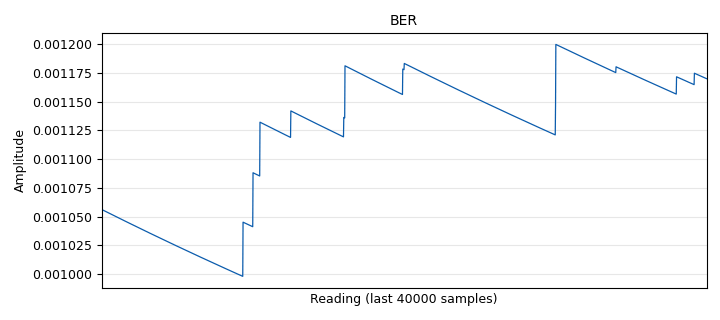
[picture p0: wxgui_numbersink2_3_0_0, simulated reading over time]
<?xml version='1.0' encoding='utf-8'?>
<?grc format='1' created='3.7.6'?>
<flow_graph>
<block>
<key>options</key>
<param><key>id</key><value>viterbi_equalization</value></param>
<param><key>title</key><value>Viterbi Equalization</value></param>
<param><key>author</key><value>AA</value></param>
<param><key>description</key><value>gnuradio flow graph</value></param>
<param><key>generate_options</key><value>wx_gui</value></param>
<param><key>category</key><value>Custom</value></param>
</block>
<block>
<key>variable</key>
<param><key>id</key><value>block</value></param>
<param><key>value</key><value>bpsym*1000</value></param>
</block>
<block>
<key>variable</key>
<param><key>id</key><value>R</value></param>
<param><key>value</key><value>100e3</value></param>
</block>
<block>
<key>variable</key>
<param><key>id</key><value>channel</value></param>
<param><key>value</key><value>fu.c_channel</value></param>
</block>
<block>
<key>variable</key>
<param><key>id</key><value>modulation</value></param>
<param><key>value</key><value>fu.pam4</value></param>
</block>
<block>
<key>variable</key>
<param><key>id</key><value>fsm</value></param>
<param><key>value</key><value>trellis.fsm(len(modulation[1]),len(channel))</value></param>
</block>
<block>
<key>variable</key>
<param><key>id</key><value>tot_channel</value></param>
<param><key>value</key><value>fu.make_isi_lookup(modulation,channel,True)</value></param>
</block>
<block>
<key>variable</key>
<param><key>id</key><value>bpsym</value></param>
<param><key>value</key><value>int(round(math.log(fsm.I())/math.log(2)))</value></param>
</block>
<block>
<key>variable</key>
<param><key>id</key><value>Es</value></param>
<param><key>value</key><value>1</value></param>
</block>
<block>
<key>variable</key>
<param><key>id</key><value>noisevar</value></param>
<param><key>value</key><value>10**(-EsN0_dB/10.0)  * Es   /2.0</value></param>
</block>
<block>
<key>import</key>
<param><key>id</key><value>import_0_0</value></param>
<param><key>import</key><value>import gnuradio.trellis.fsm_utils as fu</value></param>
</block>
<block>
<key>import</key>
<param><key>id</key><value>import_0</value></param>
<param><key>import</key><value>import numpy</value></param>
</block>
<block>
<key>import</key>
<param><key>id</key><value>import_0_1</value></param>
<param><key>import</key><value>import math</value></param>
</block>
<block>
<key>blocks_throttle</key>
<param><key>id</key><value>blocks_throttle_0</value></param>
<param><key>type</key><value>byte</value></param>
<param><key>samples_per_second</key><value>R</value></param>
</block>
<block>
<key>digital_chunks_to_symbols_xx</key>
<param><key>id</key><value>digital_chunks_to_symbols_xx_0</value></param>
<param><key>in_type</key><value>short</value></param>
<param><key>out_type</key><value>float</value></param>
<param><key>symbol_table</key><value>tot_channel[1]</value></param>
<param><key>dimension</key><value>tot_channel[0]</value></param>
</block>
<block>
<key>blocks_add_xx</key>
<param><key>id</key><value>blocks_add_xx_1</value></param>
<param><key>type</key><value>float</value></param>
</block>
<block>
<key>blocks_null_sink</key>
<param><key>id</key><value>blocks_null_sink_1</value></param>
<param><key>type</key><value>float</value></param>
<param><key>bus_conns</key><value>[[0,],]</value></param>
</block>
<block>
<key>analog_noise_source_x</key>
<param><key>id</key><value>analog_noise_source_x_0</value></param>
<param><key>type</key><value>float</value></param>
<param><key>noise_type</key><value>analog.GR_GAUSSIAN</value></param>
<param><key>amp</key><value>noisevar**0.5</value></param>
<param><key>seed</key><value>-42</value></param>
</block>
<block>
<key>trellis_encoder_xx</key>
<param><key>id</key><value>trellis_encoder_xx_0</value></param>
<param><key>type</key><value>bs</value></param>
<param><key>fsm_args</key><value>fsm</value></param>
<param><key>init_state</key><value>0</value></param>
</block>
<block>
<key>virtual_source</key>
<param><key>id</key><value>virtual_source_0</value></param>
<param><key>stream_id</key><value>observation</value></param>
</block>
<block>
<key>virtual_sink</key>
<param><key>id</key><value>virtual_sink_0</value></param>
<param><key>stream_id</key><value>observation</value></param>
</block>
<block>
<key>virtual_source</key>
<param><key>id</key><value>virtual_source_0_0_0</value></param>
<param><key>stream_id</key><value>estimate</value></param>
</block>
<block>
<key>virtual_source</key>
<param><key>id</key><value>virtual_source_0_0</value></param>
<param><key>stream_id</key><value>info</value></param>
</block>
<block>
<key>wxgui_numbersink2</key>
<param><key>id</key><value>wxgui_numbersink2_3_0_0</value></param>
<param><key>type</key><value>float</value></param>
<param><key>title</key><value>BER</value></param>
<param><key>units</key><value>BER</value></param>
<param><key>samp_rate</key><value>R</value></param>
<param><key>min_value</key><value>0</value></param>
<param><key>max_value</key><value>1.0</value></param>
<param><key>factor</key><value>1.0</value></param>
<param><key>decimal_places</key><value>6</value></param>
<param><key>ref_level</key><value>0</value></param>
<param><key>number_rate</key><value>15</value></param>
<param><key>peak_hold</key><value>False</value></param>
<param><key>average</key><value>False</value></param>
<param><key>avg_alpha</key><value>0.001</value></param>
<param><key>show_gauge</key><value>False</value></param>
</block>
<block>
<key>analog_random_source_x</key>
<param><key>id</key><value>analog_random_source_x_0</value></param>
<param><key>type</key><value>byte</value></param>
<param><key>min</key><value>0</value></param>
<param><key>max</key><value>2</value></param>
<param><key>num_samps</key><value>1007</value></param>
<param><key>repeat</key><value>True</value></param>
</block>
<block>
<key>virtual_sink</key>
<param><key>id</key><value>virtual_sink_0_0</value></param>
<param><key>stream_id</key><value>info</value></param>
</block>
<block>
<key>blocks_packed_to_unpacked_xx</key>
<param><key>id</key><value>blocks_packed_to_unpacked_xx_0</value></param>
<param><key>type</key><value>byte</value></param>
<param><key>bits_per_chunk</key><value>bpsym</value></param>
<param><key>endianness</key><value>gr.GR_MSB_FIRST</value></param>
</block>
<block>
<key>blocks_unpacked_to_packed_xx</key>
<param><key>id</key><value>blocks_unpacked_to_packed_xx_0</value></param>
<param><key>type</key><value>byte</value></param>
<param><key>bits_per_chunk</key><value>1</value></param>
<param><key>endianness</key><value>gr.GR_MSB_FIRST</value></param>
</block>
<block>
<key>note</key>
<param><key>id</key><value>note_0</value></param>
<param><key>note</key><value>Substititue the metrics/Viterbi block with Viterbi_combo</value></param>
</block>
<block>
<key>virtual_sink</key>
<param><key>id</key><value>virtual_sink_0_1</value></param>
<param><key>stream_id</key><value>estimate</value></param>
</block>
<block>
<key>blocks_packed_to_unpacked_xx</key>
<param><key>id</key><value>blocks_packed_to_unpacked_xx_0_0</value></param>
<param><key>type</key><value>byte</value></param>
<param><key>bits_per_chunk</key><value>1</value></param>
<param><key>endianness</key><value>gr.GR_MSB_FIRST</value></param>
</block>
<block>
<key>blocks_unpacked_to_packed_xx</key>
<param><key>id</key><value>blocks_unpacked_to_packed_xx_0_0</value></param>
<param><key>type</key><value>byte</value></param>
<param><key>bits_per_chunk</key><value>bpsym</value></param>
<param><key>endianness</key><value>gr.GR_MSB_FIRST</value></param>
</block>
<block>
<key>blks2_error_rate</key>
<param><key>id</key><value>blks2_error_rate_0</value></param>
<param><key>type</key><value>'BER'</value></param>
<param><key>win_size</key><value>block*100</value></param>
<param><key>bits_per_symbol</key><value>1</value></param>
</block>
<block>
<key>variable_slider</key>
<param><key>id</key><value>EsN0_dB</value></param>
<param><key>label</key><value>Es/N0 (dB)</value></param>
<param><key>value</key><value>14.0</value></param>
<param><key>min</key><value>-10</value></param>
<param><key>max</key><value>30</value></param>
<param><key>num_steps</key><value>1000</value></param>
<param><key>style</key><value>wx.SL_HORIZONTAL</value></param>
<param><key>converver</key><value>float_converter</value></param>
</block>
<block>
<key>trellis_viterbi_x</key>
<param><key>id</key><value>trellis_viterbi_x_0</value></param>
<param><key>_enabled</key><value>False</value></param>
<param><key>type</key><value>b</value></param>
<param><key>fsm_args</key><value>fsm</value></param>
<param><key>block_size</key><value>block/bpsym</value></param>
<param><key>init_state</key><value>-1</value></param>
<param><key>final_state</key><value>-1</value></param>
</block>
<block>
<key>trellis_metrics_x</key>
<param><key>id</key><value>trellis_metrics_x_0</value></param>
<param><key>_enabled</key><value>False</value></param>
<param><key>type</key><value>f</value></param>
<param><key>card</key><value>fsm.O()</value></param>
<param><key>dim</key><value>tot_channel[0]</value></param>
<param><key>table</key><value>tot_channel[1]</value></param>
<param><key>metric_type</key><value>digital.TRELLIS_EUCLIDEAN</value></param>
</block>
<block>
<key>trellis_viterbi_combined_xx</key>
<param><key>id</key><value>trellis_viterbi_combined_xx_0</value></param>
<param><key>type</key><value>f</value></param>
<param><key>out_type</key><value>b</value></param>
<param><key>fsm_args</key><value>fsm</value></param>
<param><key>block_size</key><value>block/bpsym</value></param>
<param><key>init_state</key><value>-1</value></param>
<param><key>final_state</key><value>-1</value></param>
<param><key>dim</key><value>tot_channel[0]</value></param>
<param><key>table</key><value>tot_channel[1]</value></param>
<param><key>metric_type</key><value>digital.TRELLIS_EUCLIDEAN</value></param>
</block>
<connection><source_block_id>analog_noise_source_x_0</source_block_id><sink_block_id>blocks_add_xx_1</sink_block_id><source_key>0</source_key><sink_key>1</sink_key></connection>
<connection><source_block_id>digital_chunks_to_symbols_xx_0</source_block_id><sink_block_id>blocks_add_xx_1</sink_block_id><source_key>0</source_key><sink_key>0</sink_key></connection>
<connection><source_block_id>analog_random_source_x_0</source_block_id><sink_block_id>blocks_throttle_0</sink_block_id><source_key>0</source_key><sink_key>0</sink_key></connection>
<connection><source_block_id>trellis_encoder_xx_0</source_block_id><sink_block_id>digital_chunks_to_symbols_xx_0</sink_block_id><source_key>0</source_key><sink_key>0</sink_key></connection>
<connection><source_block_id>blocks_throttle_0</source_block_id><sink_block_id>blocks_unpacked_to_packed_xx_0</sink_block_id><source_key>0</source_key><sink_key>0</sink_key></connection>
<connection><source_block_id>blocks_add_xx_1</source_block_id><sink_block_id>blocks_null_sink_1</sink_block_id><source_key>0</source_key><sink_key>0</sink_key></connection>
<connection><source_block_id>blocks_unpacked_to_packed_xx_0</source_block_id><sink_block_id>blocks_packed_to_unpacked_xx_0</sink_block_id><source_key>0</source_key><sink_key>0</sink_key></connection>
<connection><source_block_id>blocks_packed_to_unpacked_xx_0</source_block_id><sink_block_id>trellis_encoder_xx_0</sink_block_id><source_key>0</source_key><sink_key>0</sink_key></connection>
<connection><source_block_id>virtual_source_0</source_block_id><sink_block_id>trellis_viterbi_combined_xx_0</sink_block_id><source_key>0</source_key><sink_key>0</sink_key></connection>
<connection><source_block_id>trellis_metrics_x_0</source_block_id><sink_block_id>trellis_viterbi_x_0</sink_block_id><source_key>0</source_key><sink_key>0</sink_key></connection>
<connection><source_block_id>virtual_source_0</source_block_id><sink_block_id>trellis_metrics_x_0</sink_block_id><source_key>0</source_key><sink_key>0</sink_key></connection>
<connection><source_block_id>blocks_add_xx_1</source_block_id><sink_block_id>virtual_sink_0</sink_block_id><source_key>0</source_key><sink_key>0</sink_key></connection>
<connection><source_block_id>virtual_source_0_0_0</source_block_id><sink_block_id>blks2_error_rate_0</sink_block_id><source_key>0</source_key><sink_key>1</sink_key></connection>
<connection><source_block_id>virtual_source_0_0</source_block_id><sink_block_id>blks2_error_rate_0</sink_block_id><source_key>0</source_key><sink_key>0</sink_key></connection>
<connection><source_block_id>blks2_error_rate_0</source_block_id><sink_block_id>wxgui_numbersink2_3_0_0</sink_block_id><source_key>0</source_key><sink_key>0</sink_key></connection>
<connection><source_block_id>analog_random_source_x_0</source_block_id><sink_block_id>virtual_sink_0_0</sink_block_id><source_key>0</source_key><sink_key>0</sink_key></connection>
<connection><source_block_id>blocks_packed_to_unpacked_xx_0_0</source_block_id><sink_block_id>virtual_sink_0_1</sink_block_id><source_key>0</source_key><sink_key>0</sink_key></connection>
<connection><source_block_id>trellis_viterbi_combined_xx_0</source_block_id><sink_block_id>blocks_unpacked_to_packed_xx_0_0</sink_block_id><source_key>0</source_key><sink_key>0</sink_key></connection>
<connection><source_block_id>blocks_unpacked_to_packed_xx_0_0</source_block_id><sink_block_id>blocks_packed_to_unpacked_xx_0_0</sink_block_id><source_key>0</source_key><sink_key>0</sink_key></connection>
<connection><source_block_id>trellis_viterbi_x_0</source_block_id><sink_block_id>blocks_unpacked_to_packed_xx_0_0</sink_block_id><source_key>0</source_key><sink_key>0</sink_key></connection>
</flow_graph>
